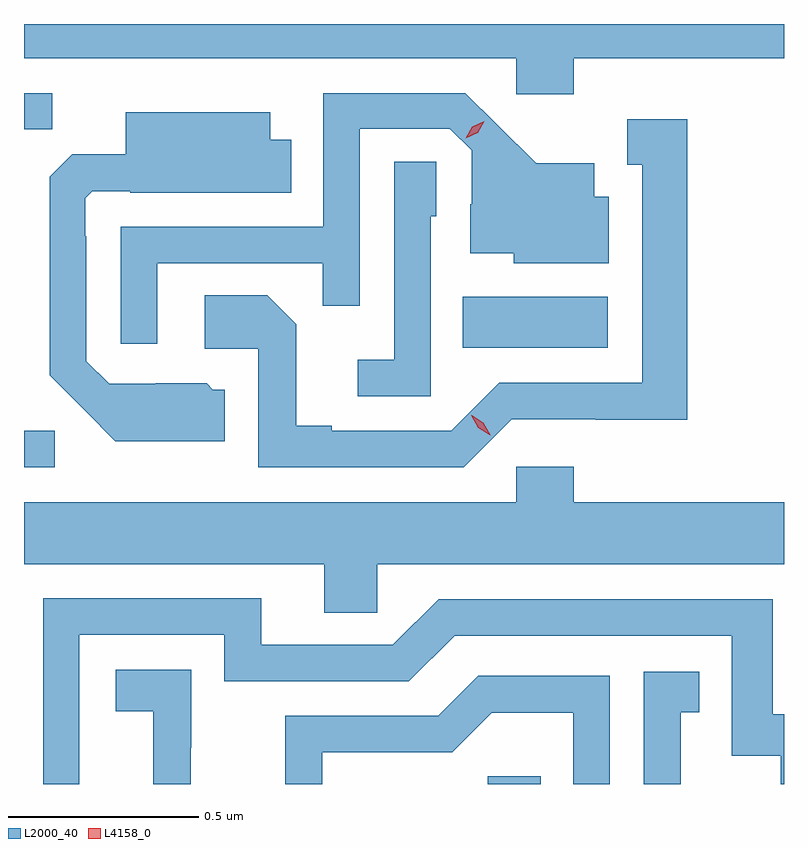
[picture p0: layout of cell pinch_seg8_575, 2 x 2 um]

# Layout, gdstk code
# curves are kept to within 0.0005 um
import gdstk
lib = gdstk.Library(unit=1e-6, precision=1e-09)
def R(c, l, rs):  # rectangles x0, y0, x1, y1
    for r in rs: c.add(gdstk.rectangle(r[:2], r[2:], *l))
def P(c, l, *ps):  # polygons
    for p in ps: c.add(gdstk.Polygon(p, *l))
L2000_40 = (2000, 40)
L4158_0 = (4158, 0)

pinch_seg8_575 = lib.new_cell('pinch_seg8_575')
R(pinch_seg8_575, L2000_40, [(168.069,1106.598,168.209,1106.619), (166.849,1107.432,166.93,1107.528), (168.004,1107.746,168.385,1107.88), (166.849,1108.321,166.923,1108.416)])
P(pinch_seg8_575, L2000_40, [(168.296,1108.508),(168.849,1108.508),(168.849,1108.598),(166.849,1108.598),(166.849,1108.508),(168.144,1108.508),(168.144,1108.413),(168.296,1108.413)],
  [(167.199,1107.969),(167.635,1107.969),(167.635,1107.856),(167.733,1107.856),(167.733,1108.323),(167.97,1108.323),(168.027,1108.266),(168.027,1108.124),(168.023,1108.124),(168.023,1107.995),(168.138,1107.995),(168.138,1107.968),(168.388,1107.968),(168.388,1108.144),(168.349,1108.144),(168.349,1108.231),(168.197,1108.231),(168.01,1108.416),(167.637,1108.416),(167.637,1108.065),(167.103,1108.065),(167.103,1107.756),(167.199,1107.756)],
  [(167.377,1107.636),(167.346,1107.636),(167.33,1107.652),(167.196,1107.652),(167.196,1107.651),(167.073,1107.651),(167.013,1107.711),(167.013,1108.04),(167.01,1108.04),(167.01,1108.14),(167.028,1108.158),(167.128,1108.158),(167.128,1108.154),(167.552,1108.154),(167.552,1108.294),(167.497,1108.294),(167.497,1108.366),(167.117,1108.366),(167.117,1108.255),(166.976,1108.255),(166.917,1108.196),(166.917,1107.674),(167.089,1107.5),(167.377,1107.5)],
  [(168.132,1107.558),(168.354,1107.558),(168.354,1107.557),(168.595,1107.557),(168.595,1108.348),(168.437,1108.348),(168.437,1108.227),(168.476,1108.227),(168.476,1107.654),(168.099,1107.654),(167.973,1107.528),(167.659,1107.528),(167.659,1107.541),(167.565,1107.541),(167.565,1107.808),(167.489,1107.884),(167.325,1107.884),(167.325,1107.744),(167.466,1107.744),(167.466,1107.432),(168.006,1107.432)],
  [(167.919,1108.092),(167.934,1108.092),(167.934,1108.235),(167.823,1108.235),(167.823,1107.715),(167.727,1107.715),(167.727,1107.618),(167.919,1107.618)],
  [(166.849,1107.176),(167.639,1107.176),(167.639,1107.049),(167.778,1107.049),(167.778,1107.176),(168.849,1107.176),(168.849,1107.34),(168.296,1107.34),(168.296,1107.433),(168.144,1107.433),(168.144,1107.34),(166.849,1107.34)],
  [(166.995,1106.991),(167.376,1106.991),(167.376,1106.868),(167.862,1106.868),(167.982,1106.988),(168.711,1106.988),(168.711,1106.673),(168.84,1106.673),(168.84,1106.598),(168.849,1106.598),(168.849,1106.782),(168.82,1106.782),(168.82,1107.084),(167.94,1107.084),(167.82,1106.964),(167.473,1106.964),(167.473,1107.087),(166.899,1107.087),(166.899,1106.598),(166.995,1106.598)],
  [(167.288,1106.693),(167.289,1106.693),(167.289,1106.899),(167.091,1106.899),(167.091,1106.789),(167.189,1106.789),(167.189,1106.598),(167.288,1106.598)],
  [(168.577,1106.787),(168.626,1106.787),(168.626,1106.893),(168.48,1106.893),(168.48,1106.598),(168.577,1106.598)],
  [(167.634,1106.682),(167.976,1106.682),(168.08,1106.786),(168.294,1106.786),(168.294,1106.598),(168.39,1106.598),(168.39,1106.883),(168.044,1106.883),(167.939,1106.778),(167.536,1106.778),(167.536,1106.598),(167.634,1106.598)])
P(pinch_seg8_575, L4158_0, [(168.076,1107.516),(168.044,1107.536),(168.026,1107.568),(168.026,1107.569),(168.027,1107.569),(168.058,1107.549),(168.076,1107.517),(168.076,1107.516)],
  [(168.012,1108.298),(168.012,1108.298),(168.029,1108.327),(168.06,1108.342),(168.06,1108.342),(168.06,1108.342),(168.043,1108.312),(168.012,1108.298)])

lib.write_gds('pinch_seg8_575.gds')
